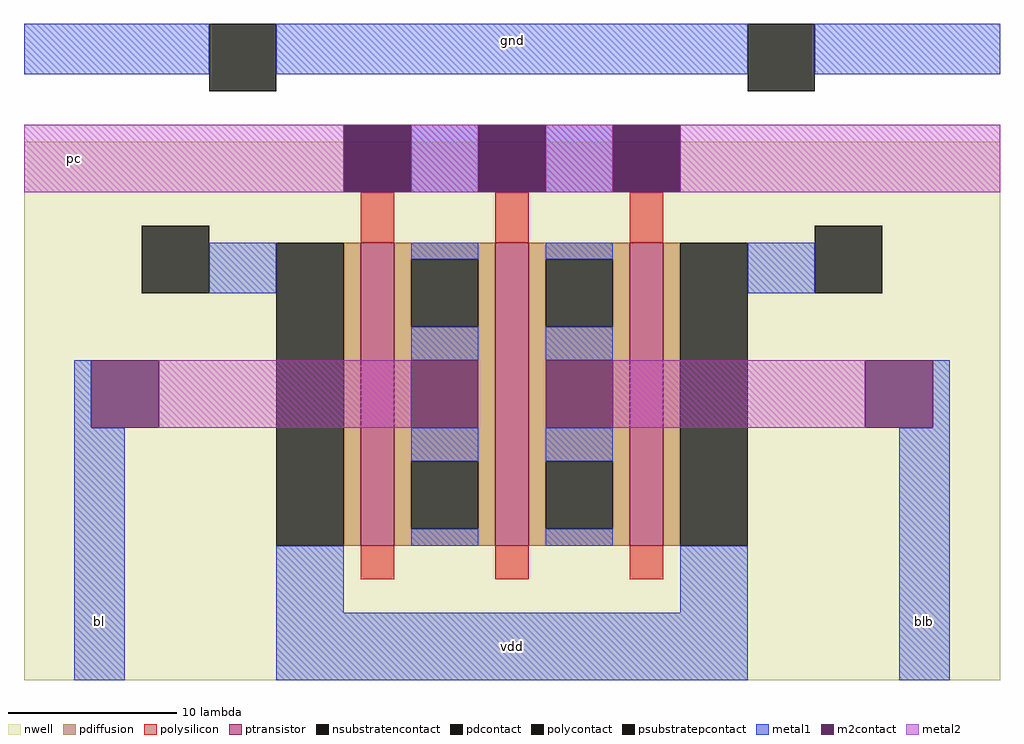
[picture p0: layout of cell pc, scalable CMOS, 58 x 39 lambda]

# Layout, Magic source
magic
tech scmos
<< nwell >>
rect 0 -47 58 -15
<< ptransistor >>
rect 20 -39 22 -21
rect 28 -39 30 -21
rect 36 -39 38 -21
<< pdiffusion >>
rect 19 -39 20 -21
rect 22 -22 28 -21
rect 22 -26 23 -22
rect 27 -26 28 -22
rect 22 -34 28 -26
rect 22 -38 23 -34
rect 27 -38 28 -34
rect 22 -39 28 -38
rect 30 -22 36 -21
rect 30 -26 31 -22
rect 35 -26 36 -22
rect 30 -34 36 -26
rect 30 -38 31 -34
rect 35 -38 36 -34
rect 30 -39 36 -38
rect 38 -39 39 -21
<< pdcontact >>
rect 15 -39 19 -21
rect 23 -26 27 -22
rect 23 -38 27 -34
rect 31 -26 35 -22
rect 31 -38 35 -34
rect 39 -39 43 -21
<< psubstratepcontact >>
rect 11 -12 15 -8
rect 43 -12 47 -8
<< nsubstratencontact >>
rect 7 -24 11 -20
rect 47 -24 51 -20
<< polysilicon >>
rect 20 -21 22 -18
rect 28 -21 30 -18
rect 36 -21 38 -18
rect 20 -41 22 -39
rect 28 -41 30 -39
rect 36 -41 38 -39
<< polycontact >>
rect 19 -18 23 -14
rect 27 -18 31 -14
rect 35 -18 39 -14
<< metal1 >>
rect 0 -11 11 -8
rect 15 -11 43 -8
rect 47 -11 58 -8
rect 23 -18 27 -14
rect 31 -18 35 -14
rect 11 -24 15 -21
rect 3 -32 4 -28
rect 3 -47 6 -32
rect 23 -22 27 -21
rect 23 -28 27 -26
rect 23 -34 27 -32
rect 23 -39 27 -38
rect 31 -22 35 -21
rect 31 -28 35 -26
rect 31 -34 35 -32
rect 31 -39 35 -38
rect 43 -24 47 -21
rect 54 -32 55 -28
rect 15 -43 19 -39
rect 39 -43 43 -39
rect 15 -47 43 -43
rect 52 -47 55 -32
<< m2contact >>
rect 19 -18 23 -14
rect 27 -18 31 -14
rect 35 -18 39 -14
rect 4 -32 8 -28
rect 23 -32 27 -28
rect 31 -32 35 -28
rect 50 -32 54 -28
<< metal2 >>
rect 0 -18 19 -14
rect 23 -18 27 -14
rect 31 -18 35 -14
rect 39 -18 58 -14
rect 8 -32 23 -28
rect 35 -32 50 -28
<< labels >>
rlabel metal1 29 -45 29 -45 1 vdd
rlabel metal1 53 -44 54 -43 8 blb
rlabel metal1 4 -44 5 -43 2 bl
rlabel metal1 29 -9 29 -9 5 gnd
rlabel metal2 3 -16 3 -16 3 pc
<< end >>
